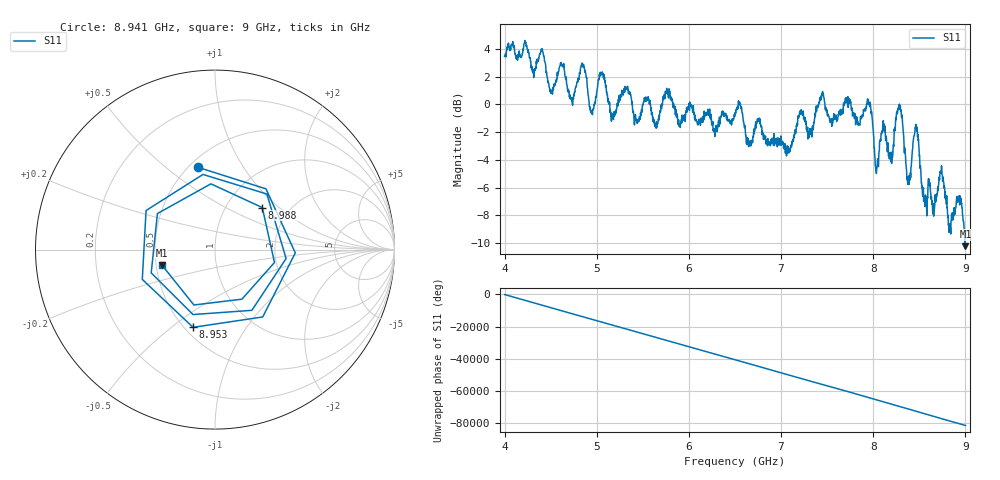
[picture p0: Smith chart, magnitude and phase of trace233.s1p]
! Created with skrf 1.8.0 (http://scikit-rf.org).
# Hz S RI R 50.0
!freq ReS11 ImS11
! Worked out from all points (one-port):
!   1601 points, 4 GHz to 9 GHz, reference 50 ohm
!   lowest |S11| = -10.2 dB at 9 GHz (marker M1), VSWR 1.89, Z = 26.8 - j5.03 ohm
!   |S11| at or under -10 dB: 8.99376 GHz to 8.994372 GHz (612 kHz wide, 0.0068 % of centre); 8.998918 GHz to end of sweep
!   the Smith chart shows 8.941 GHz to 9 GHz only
!   S11 on the Smith chart (normalised r, x): 8.941 GHz: 0.55, +0.65; 8.953 GHz: 0.55, -0.60; 8.988 GHz: 1.47, +0.78; 9 GHz: 0.54, -0.10
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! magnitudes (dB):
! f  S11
! 4 GHz  3.5
! 4.403 GHz  3.8
! 4.506 GHz  0.8
! 4.625 GHz  2.8
! 4.728 GHz  0.3
! 4.856 GHz  2.9
! 4.944 GHz  -0.5
! 5.053 GHz  2.2
! 5.169 GHz  -0.8
! 5.25 GHz  0.3
! 5.875 GHz  -0.8
! 6.5 GHz  -0.7
! 7.125 GHz  -2.7
! 7.441 GHz  0.7
! 7.75 GHz  0.3
! 7.959 GHz  0.1
! 8.041 GHz  -4.6
! 8.106 GHz  -1.9
! 8.197 GHz  -3.8
! 8.288 GHz  -0.1
! 8.375 GHz  -5.7
! 8.466 GHz  -1.6
! 8.559 GHz  -7.2
! 8.738 GHz  -4.9
! 8.941 GHz  -6.6
! 8.953 GHz  -6.9
! 8.988 GHz  -9.1
! 9 GHz  -10.2
